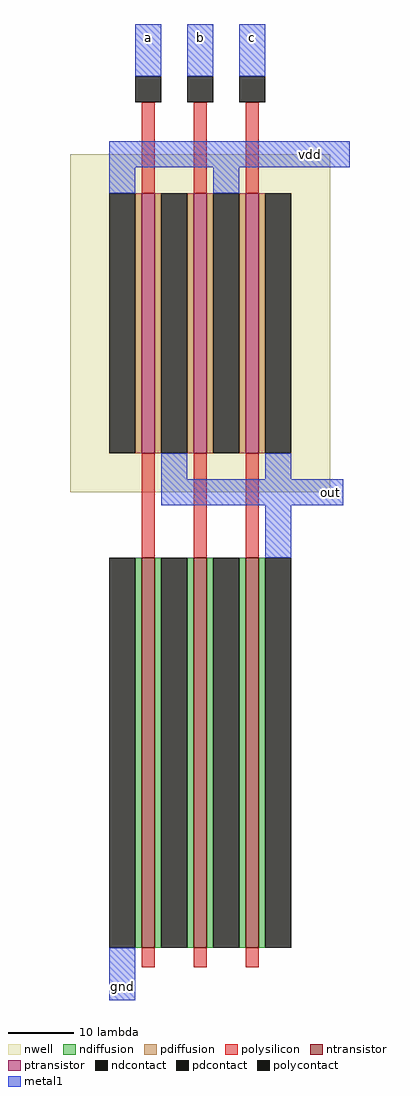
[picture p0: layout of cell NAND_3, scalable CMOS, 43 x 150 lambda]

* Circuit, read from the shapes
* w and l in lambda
.subckt NAND_3 a b c gnd out vdd
M1 n1 a gnd VSUBS nfet w=60 l=2
M2 n2 b n1 VSUBS nfet w=60 l=2
M3 out c n2 VSUBS nfet w=60 l=2
M4 out a vdd n3 pfet w=40 l=2
M5 vdd b out n3 pfet w=40 l=2
M6 out c vdd n3 pfet w=40 l=2
.ends

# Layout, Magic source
magic
tech scmos
<< nwell >>
rect -11 61 29 113
<< ntransistor >>
rect 0 -9 2 51
rect 8 -9 10 51
rect 16 -9 18 51
<< ptransistor >>
rect 0 67 2 107
rect 8 67 10 107
rect 16 67 18 107
<< ndiffusion >>
rect -1 -9 0 51
rect 2 -9 3 51
rect 7 -9 8 51
rect 10 -9 11 51
rect 15 -9 16 51
rect 18 -9 19 51
<< pdiffusion >>
rect -1 67 0 107
rect 2 67 3 107
rect 7 67 8 107
rect 10 67 11 107
rect 15 67 16 107
rect 18 67 19 107
<< ndcontact >>
rect -5 -9 -1 51
rect 3 -9 7 51
rect 11 -9 15 51
rect 19 -9 23 51
<< pdcontact >>
rect -5 67 -1 107
rect 3 67 7 107
rect 11 67 15 107
rect 19 67 23 107
<< polysilicon >>
rect 0 107 2 121
rect 8 107 10 121
rect 16 107 18 121
rect 0 51 2 67
rect 8 51 10 67
rect 16 51 18 67
rect 0 -12 2 -9
rect 8 -12 10 -9
rect 16 -12 18 -9
<< polycontact >>
rect -1 121 3 125
rect 7 121 11 125
rect 15 121 19 125
<< metal1 >>
rect -1 125 3 133
rect 7 125 11 133
rect 15 125 19 133
rect -5 111 32 115
rect -5 107 -1 111
rect 11 107 15 111
rect 3 63 7 67
rect 19 63 23 67
rect 3 59 31 63
rect 19 51 23 59
rect -5 -17 -1 -9
<< labels >>
rlabel metal1 -1 129 3 133 5 a
rlabel metal1 7 129 11 133 5 b
rlabel metal1 15 129 19 133 5 c
rlabel metal1 27 59 31 63 7 out
rlabel metal1 -5 -17 -1 -13 1 gnd
rlabel metal1 24 111 28 115 1 vdd
<< end >>
